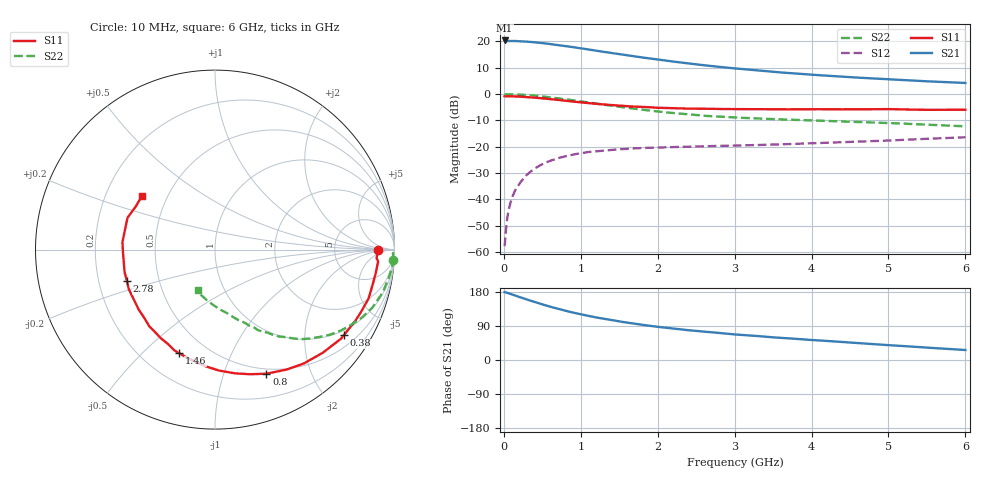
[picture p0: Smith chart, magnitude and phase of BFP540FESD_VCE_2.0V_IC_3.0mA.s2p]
! Infineon Technologies  Discrete & RF Semiconductors
! BFP540FESD
! VCE =  2.0 V,  IC =  3.0 mA
! Common Emitter S-Parameters:  Nov 2015
# GHz  S  MA  R  50
!  f  S11  S21  S12  S22
! GHz  MAG  ANG  MAG  ANG  MAG  ANG  MAG  ANG
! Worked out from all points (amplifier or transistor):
!   210 points, 10 MHz to 6 GHz, reference 50 ohm
!   highest |S21| = 20.3 dB at 10 MHz (marker M1)
!   |S21| within 3 dB of that: start of sweep to 1.004 GHz
!   unconditionally stable (mu >= 1): 3.109 GHz to end of sweep
!   at 185 MHz: K = 0.03, MSG = 27.4 dB, |S12| = -34.8 dB
!   at 1.52 GHz: K = 0.47, MSG = 18.0 dB, |S12| = -20.9 dB
!   at 6 GHz: K = 1.43, MAG = 6.4 dB, |S12| = -16.4 dB
!   S11 on the Smith chart (normalised r, x): 10 MHz: 21, +0; 380 MHz: 0.84, -3.11; 800 MHz: 0.45, -1.40; 1.46 GHz: 0.35, -0.65; 2.78 GHz: 0.32, -0.16; 6 GHz: 0.36, +0.29
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0.01  0.9109 0.0  10.41 179.1  0.0013 100.0  0.9959 -3.4
0.02  0.9009 -3.1  10.12 178.8  0.002 102.4  0.9921 -1.1
0.055  0.9104 -4.5  10.17 176.6  0.0055 87.0  0.9917 -2.9
0.115  0.9025 -10.1  10.15 172.4  0.0116 85.6  0.9902 -5.9
0.15  0.8989 -13.9  10.17 170.1  0.0152 83.1  0.9847 -7.7
0.26  0.8846 -23.1  9.95 162.5  0.0255 77.8  0.9675 -13.3
0.38  0.8616 -33.6  9.647 154.4  0.0367 72.5  0.9395 -19.1
0.5  0.8313 -43.7  9.324 146.8  0.0467 66.9  0.9027 -24.7
0.6  0.8045 -52.1  8.908 140.6  0.0541 62.3  0.8679 -28.8
0.8  0.7484 -67.5  8.168 130.0  0.066 55.3  0.7962 -36.6
1.02  0.6925 -82.3  7.308 119.8  0.0762 48.6  0.7198 -43.5
1.2  0.6529 -94.4  6.645 112.3  0.0822 44.0  0.66 -48.6
1.46  0.6103 -109.3  5.841 103.1  0.0888 39.1  0.5847 -54.9
1.72  0.5759 -122.5  5.153 95.0  0.0936 35.2  0.5208 -60.6
2.02  0.548 -135.9  4.495 87.1  0.0971 32.3  0.4638 -65.8
2.4  0.5293 -149.6  3.804 78.6  0.1004 29.6  0.4143 -71.6
2.78  0.5212 -160.3  3.308 71.8  0.1041 28.6  0.3745 -76.9
3.1  0.5164 -168.1  2.981 66.1  0.1061 27.8  0.3542 -80.6
3.5  0.5128 -176.8  2.638 59.8  0.1099 27.2  0.3351 -85.2
4.1  0.5159 173.8  2.281 51.6  0.1175 27.8  0.3123 -91.0
5.1  0.5146 158.3  1.876 38.0  0.1334 26.8  0.2787 -101.5
6  0.5055 143.7  1.625 26.4  0.1515 25.0  0.2442 -113.3
